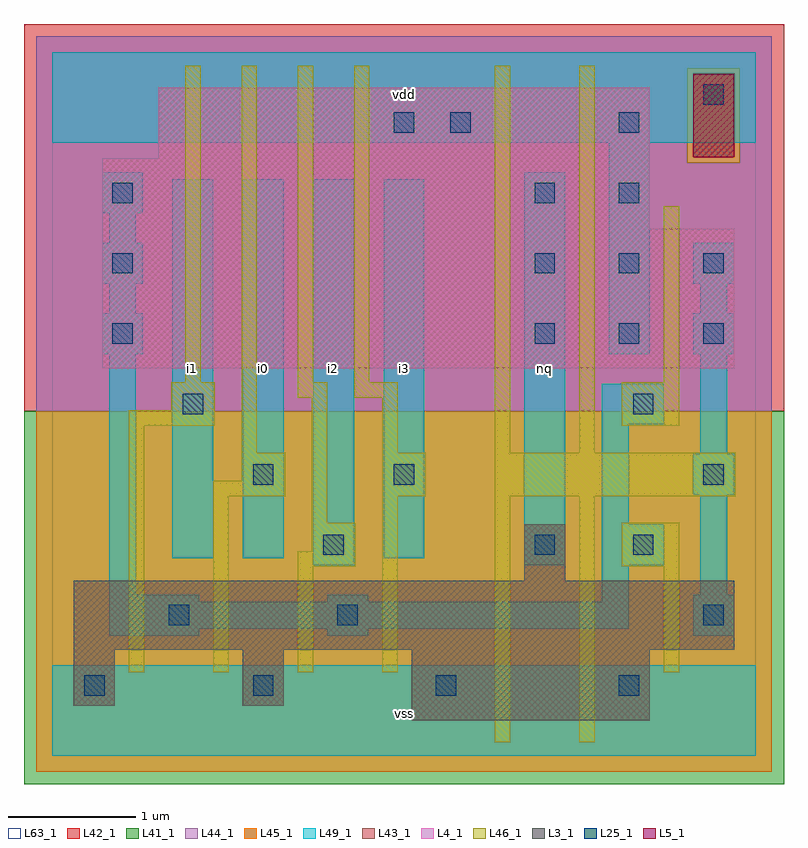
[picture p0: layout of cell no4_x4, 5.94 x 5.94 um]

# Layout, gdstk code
import gdstk
lib = gdstk.Library(unit=1e-6, precision=1e-09)
def R(c, l, rs):  # rectangles x0, y0, x1, y1
    for r in rs: c.add(gdstk.rectangle(r[:2], r[2:], *l))
def A(c, l, x, y, w, h, nx, ny, dx, dy):  # array of equal rectangles
    R(c, l, [(x+i*dx, y+j*dy, x+i*dx+w, y+j*dy+h) for i in range(nx) for j in range(ny)])
L3_1 = (3, 1)
L4_1 = (4, 1)
L5_1 = (5, 1)
L25_1 = (25, 1)
L41_1 = (41, 1)
L42_1 = (42, 1)
L43_1 = (43, 1)
L44_1 = (44, 1)
L45_1 = (45, 1)
L46_1 = (46, 1)
L49_1 = (49, 1)
L63_1 = (63, 1)

no4_x4 = lib.new_cell('no4_x4')
R(no4_x4, L3_1, [(2.81,0.28,4.67,0.83), (0.17,0.39,0.49,0.83), (1.49,0.39,1.81,0.83), (0.17,0.83,5.33,1.37), (3.69,1.37,4.01,1.81)])
R(no4_x4, L4_1, [(0.39,3.03,5.33,4.12), (0.39,4.12,4.67,4.67), (0.83,4.67,4.67,5.22)])
R(no4_x4, L5_1, [(5.01,4.68,5.33,5.33)])
A(no4_x4, L25_1, 1.57, 0.47, 0.16, 0.16, 3, 1, 1.43, 0)
A(no4_x4, L25_1, 0.47, 3.22, 0.16, 0.16, 1, 3, 0, 0.55)
A(no4_x4, L25_1, 3.77, 3.22, 0.16, 0.16, 3, 2, 0.66, 0.55)
R(no4_x4, L25_1, [(0.25,0.47,0.41,0.63), (0.91,1.02,1.07,1.18), (2.23,1.02,2.39,1.18), (5.09,1.02,5.25,1.18), (2.12,1.57,2.28,1.73), (3.77,1.57,3.93,1.73), (4.54,1.57,4.7,1.73), (1.57,2.12,1.73,2.28), (2.67,2.12,2.83,2.28), (5.09,2.12,5.25,2.28), (1.02,2.67,1.18,2.83), (4.54,2.67,4.7,2.83), (3.77,4.32,3.93,4.48), (4.43,4.32,4.59,4.48), (2.67,4.87,2.83,5.03), (3.11,4.87,3.27,5.03), (4.43,4.87,4.59,5.03), (5.09,5.09,5.25,5.25)])
R(no4_x4, L41_1, [(-0.22,-0.22,5.72,2.695)])
R(no4_x4, L42_1, [(-0.22,2.695,5.72,5.72)])
R(no4_x4, L43_1, [(2.81,0.28,4.67,0.83), (0.17,0.39,0.49,0.83), (1.49,0.39,1.81,0.83), (0.17,0.83,5.33,1.37), (3.69,1.37,4.01,1.81), (0.39,3.03,5.33,4.12), (0.39,4.12,4.67,4.67), (0.83,4.67,4.67,5.22), (5.01,4.68,5.33,5.33)])
R(no4_x4, L44_1, [(-0.125,2.695,5.625,4.635), (-0.125,4.635,4.965,5.375), (5.375,4.635,5.625,5.375), (-0.125,5.375,5.625,5.625)])
R(no4_x4, L45_1, [(-0.125,-0.125,5.625,2.695), (4.965,4.635,5.375,5.375)])
R(no4_x4, L46_1, [(3.46,0.105,3.58,2.03), (4.12,0.105,4.24,2.03), (0.6,0.655,0.72,2.58), (1.26,0.655,1.38,2.03), (1.92,0.655,2.04,1.48), (2.58,0.655,2.7,2.03), (4.78,0.655,4.9,1.48), (1.92,1.48,2.37,1.6), (4.45,1.48,4.9,1.82), (2.03,1.6,2.37,1.82), (2.03,1.82,2.15,2.8), (1.26,2.03,1.82,2.15), (2.58,2.03,2.92,2.37), (3.46,2.03,5.34,2.37), (1.48,2.15,1.82,2.37), (1.48,2.37,1.6,5.395), (2.58,2.37,2.7,2.8), (3.46,2.37,3.58,5.395), (4.12,2.37,4.24,5.395), (0.6,2.58,1.27,2.7), (4.45,2.58,4.9,2.92), (0.93,2.7,1.27,2.92), (1.92,2.8,2.15,2.92), (2.36,2.8,2.7,2.92), (1.04,2.92,1.16,5.395), (1.92,2.92,2.04,5.395), (2.36,2.92,2.48,5.395), (4.78,2.92,4.9,4.295)])
A(no4_x4, L49_1, 5.01, 0.94, 0.32, 0.32, 1, 3, 0, 1.1)
A(no4_x4, L49_1, 0.39, 3.14, 0.32, 0.32, 1, 3, 0, 0.55)
R(no4_x4, L49_1, [(0,0,5.5,0.71), (0.445,0.94,1.15,0.995), (2.15,0.94,2.47,0.995), (0.445,0.995,4.505,1.205), (0.445,1.205,1.15,1.26), (2.15,1.205,2.47,1.26), (4.295,1.205,4.505,1.49), (0.445,1.26,0.655,3.14), (5.065,1.26,5.275,2.04), (2.04,1.49,2.36,4.505), (3.69,1.49,4.01,4.56), (4.295,1.49,4.78,1.81), (0.94,1.545,1.26,4.505), (1.49,1.545,1.81,4.505), (2.59,1.545,2.91,4.505), (4.295,1.81,4.505,2.59), (5.065,2.36,5.275,3.14), (4.295,2.59,4.78,2.91), (4.35,3.14,4.67,4.79), (0.445,3.46,0.655,3.69), (5.065,3.46,5.275,3.69), (5.01,3.69,5.33,4.01), (0.445,4.01,0.655,4.24), (0,4.79,5.5,5.5)])
R(no4_x4, L63_1, [(0,0,5.5,5.5)])
no4_x4.add(gdstk.Label('i1', (1.1,3.025), layer=49, texttype=1))
no4_x4.add(gdstk.Label('i1', (1.1,3.025), layer=49, texttype=1))
no4_x4.add(gdstk.Label('i2', (2.2,3.025), layer=49, texttype=1))
no4_x4.add(gdstk.Label('i0', (1.65,3.025), layer=49, texttype=1))
no4_x4.add(gdstk.Label('i2', (2.2,3.025), layer=49, texttype=1))
no4_x4.add(gdstk.Label('i0', (1.65,3.025), layer=49, texttype=1))
no4_x4.add(gdstk.Label('vss', (2.75,0.33), layer=49, texttype=1))
no4_x4.add(gdstk.Label('vss', (2.75,0.33), layer=49, texttype=1))
no4_x4.add(gdstk.Label('i3', (2.75,3.025), layer=49, texttype=1))
no4_x4.add(gdstk.Label('i3', (2.75,3.025), layer=49, texttype=1))
no4_x4.add(gdstk.Label('nq', (3.85,3.025), layer=49, texttype=1))
no4_x4.add(gdstk.Label('nq', (3.85,3.025), layer=49, texttype=1))
no4_x4.add(gdstk.Label('vdd', (2.75,5.17), layer=49, texttype=1))
no4_x4.add(gdstk.Label('vdd', (2.75,5.17), layer=49, texttype=1))

lib.write_gds('no4_x4.gds')
